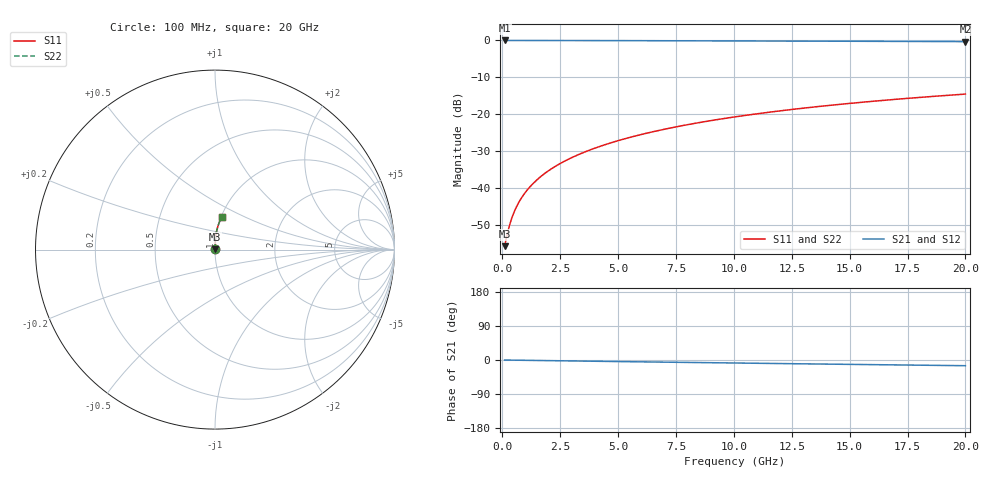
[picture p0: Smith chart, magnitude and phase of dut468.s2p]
! Touchstone file exported from HFSS 2024.1.0
!  File:  C:/UserFiles/LocalFiles/RDL_TSV_Batchsim/temp_RDL_bottom_468_1779685863.aedt
!  Generated:  01:13:43 PM May 25, 2026
!  Design:  RDL_bottom
!  Project:  temp_RDL_bottom_468_1779685863
!  Setup:  Setup1
!  Solution:  Sweep
! Variables:
!  dtsv = 10.80580581um
!  hbump = 3um
!  htsv = 75.04um
!  ldown = 150.73um
!  lrdl = 100um
!  p = 40
!  p1 = 56.67um
!  rhole = 1um
!  t = 450um
!  tdown = 2.44um
!  trdl = 3.915915916um
!  wdown = 21.46um
!  wrdl = 20um
# GHz S MA R 50.000000
! Terminal data exported
! Port[1] = RDL1_T1
! Port[2] = RDL1_T2
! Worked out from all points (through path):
!   200 points, 100 MHz to 20 GHz, reference 50 ohm
!   highest |S21| = -0.01 dB at 100 MHz (marker M1); lowest = -0.3 dB at 20 GHz (marker M2)
!   group delay of S21, straight-line fit = 2.08 ps
!   lowest |S11| = -55.7 dB at 100 MHz (marker M3), VSWR 1.00, Z = 50.1 + j0.0909 ohm
!   |S11| at or under -10 dB: start of sweep to end of sweep
!   |S22| runs from -55.7 to -14.5 dB; largest |S21 - S12| = 2.7e-15
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0.1  0.001635 33.7  0.9986 -0.1  0.9986 -0.1  0.001635 33.7
! Gamma 0 0 0 0
! Port Impedance 50 0 50 0
0.2  0.002276 52.4  0.9986 -0.2  0.9986 -0.2  0.002276 52.4
0.3  0.003041 62.1  0.9986 -0.3  0.9986 -0.3  0.003041 62.1
0.4  0.003845 67.7  0.9985 -0.3  0.9985 -0.3  0.003845 67.7
0.5  0.004662 71.3  0.9984 -0.4  0.9984 -0.4  0.004662 71.3
0.6  0.005482 73.9  0.9984 -0.5  0.9984 -0.5  0.005482 73.9
0.8  0.00713 77.3  0.9983 -0.7  0.9983 -0.7  0.00713 77.3
1.1  0.009619 80.5  0.9981 -0.9  0.9981 -0.9  0.009619 80.5
1.5  0.01297 82.9  0.9978 -1.3  0.9978 -1.3  0.01297 82.9
1.8  0.01551 84.1  0.9976 -1.5  0.9976 -1.5  0.01551 84.1
2.1  0.01808 85.0  0.9973 -1.8  0.9973 -1.8  0.01808 85.0
2.7  0.02326 86.2  0.9967 -2.3  0.9967 -2.3  0.02326 86.2
3.5  0.0303 87.2  0.9957 -2.9  0.9957 -2.9  0.0303 87.2
4.2  0.03659 87.6  0.9948 -3.5  0.9948 -3.5  0.03659 87.6
5  0.04389 87.8  0.9935 -4.1  0.9935 -4.1  0.04389 87.8
5.9  0.05227 87.8  0.992 -4.8  0.992 -4.8  0.05227 87.8
6.8  0.06078 87.6  0.9904 -5.5  0.9904 -5.5  0.06078 87.6
8.4  0.07615 86.9  0.9873 -6.7  0.9873 -6.7  0.07615 86.9
10.1  0.09268 85.9  0.984 -8.0  0.984 -8.0  0.09268 85.9
13.4  0.1248 83.4  0.9775 -10.4  0.9775 -10.4  0.1248 83.4
16.7  0.1566 80.8  0.9706 -12.8  0.9706 -12.8  0.1566 80.8
20  0.1876 78.2  0.9633 -15.1  0.9633 -15.1  0.1876 78.2
